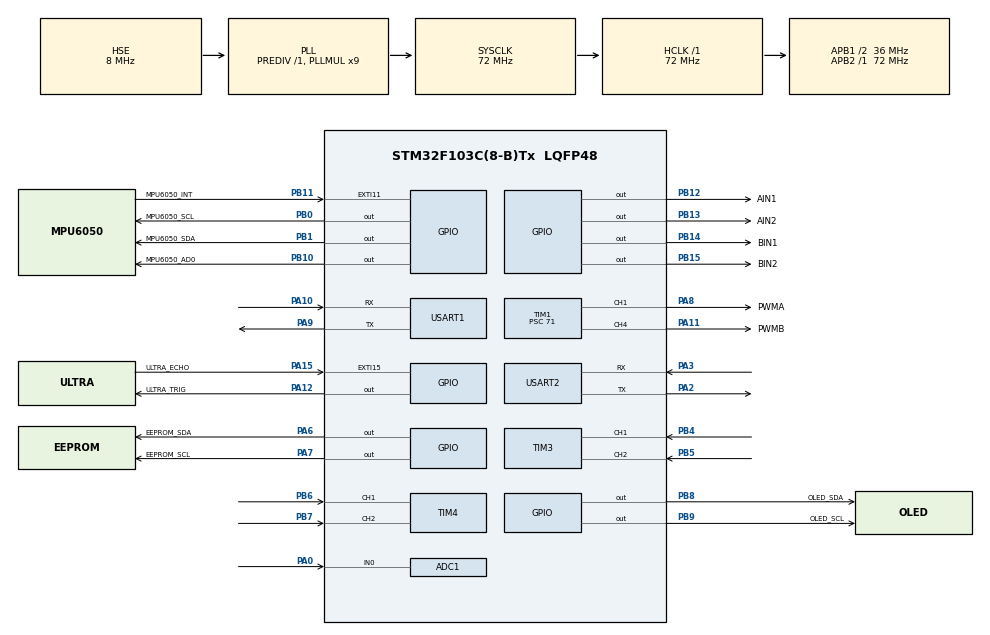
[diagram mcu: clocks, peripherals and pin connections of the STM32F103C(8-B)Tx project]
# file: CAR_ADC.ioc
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ADC1.Channel-0\#ChannelRegularConversion=ADC_CHANNEL_0
ADC1.ContinuousConvMode=ENABLE
ADC1.NbrOfConversionFlag=1
ADC1.Rank-0\#ChannelRegularConversion=1
ADC1.SamplingTime-0\#ChannelRegularConversion=ADC_SAMPLETIME_1CYCLE_5
ADC1.master=1
Dma.ADC1.4.Direction=DMA_PERIPH_TO_MEMORY
Dma.ADC1.4.Instance=DMA1_Channel1
Dma.ADC1.4.MemDataAlignment=DMA_MDATAALIGN_HALFWORD
Dma.ADC1.4.MemInc=DMA_MINC_ENABLE
Dma.ADC1.4.Mode=DMA_CIRCULAR
Dma.ADC1.4.PeriphDataAlignment=DMA_PDATAALIGN_HALFWORD
Dma.ADC1.4.PeriphInc=DMA_PINC_DISABLE
Dma.ADC1.4.Priority=DMA_PRIORITY_MEDIUM
Dma.Request0=USART1_RX
Dma.Request1=USART1_TX
Dma.Request2=USART2_TX
Dma.Request3=USART2_RX
Dma.Request4=ADC1
Dma.USART1_RX.0.Direction=DMA_PERIPH_TO_MEMORY
Dma.USART1_RX.0.Instance=DMA1_Channel5
Dma.USART1_RX.0.MemDataAlignment=DMA_MDATAALIGN_BYTE
Dma.USART1_RX.0.MemInc=DMA_MINC_ENABLE
Dma.USART1_RX.0.Mode=DMA_NORMAL
Dma.USART1_RX.0.PeriphDataAlignment=DMA_PDATAALIGN_BYTE
Dma.USART1_RX.0.PeriphInc=DMA_PINC_DISABLE
Dma.USART1_RX.0.Priority=DMA_PRIORITY_MEDIUM
Dma.USART1_TX.1.Direction=DMA_MEMORY_TO_PERIPH
Dma.USART1_TX.1.Instance=DMA1_Channel4
Dma.USART1_TX.1.MemDataAlignment=DMA_MDATAALIGN_BYTE
Dma.USART1_TX.1.MemInc=DMA_MINC_ENABLE
Dma.USART1_TX.1.Mode=DMA_NORMAL
Dma.USART1_TX.1.PeriphDataAlignment=DMA_PDATAALIGN_BYTE
Dma.USART1_TX.1.PeriphInc=DMA_PINC_DISABLE
Dma.USART1_TX.1.Priority=DMA_PRIORITY_MEDIUM
Dma.USART2_RX.3.Direction=DMA_PERIPH_TO_MEMORY
Dma.USART2_RX.3.Instance=DMA1_Channel6
Dma.USART2_RX.3.MemDataAlignment=DMA_MDATAALIGN_BYTE
Dma.USART2_RX.3.MemInc=DMA_MINC_ENABLE
Dma.USART2_RX.3.Mode=DMA_NORMAL
Dma.USART2_RX.3.PeriphDataAlignment=DMA_PDATAALIGN_BYTE
Dma.USART2_RX.3.PeriphInc=DMA_PINC_DISABLE
Dma.USART2_RX.3.Priority=DMA_PRIORITY_MEDIUM
Dma.USART2_TX.2.Direction=DMA_MEMORY_TO_PERIPH
Dma.USART2_TX.2.Instance=DMA1_Channel7
Dma.USART2_TX.2.MemDataAlignment=DMA_MDATAALIGN_BYTE
Dma.USART2_TX.2.MemInc=DMA_MINC_ENABLE
Dma.USART2_TX.2.Mode=DMA_NORMAL
Dma.USART2_TX.2.PeriphDataAlignment=DMA_PDATAALIGN_BYTE
Dma.USART2_TX.2.PeriphInc=DMA_PINC_DISABLE
Dma.USART2_TX.2.Priority=DMA_PRIORITY_MEDIUM
Mcu.Family=STM32F1
Mcu.Name=STM32F103C(8-B)Tx
Mcu.Package=LQFP48
NVIC.DMA1_Channel1_IRQn=true\:0\:0\:false\:false\:true\:false\:true
NVIC.DMA1_Channel4_IRQn=true\:0\:0\:false\:false\:true\:false\:true
NVIC.DMA1_Channel5_IRQn=true\:0\:0\:false\:false\:true\:false\:true
NVIC.DMA1_Channel6_IRQn=true\:0\:0\:true\:false\:true\:false\:true
NVIC.DMA1_Channel7_IRQn=true\:0\:0\:true\:false\:true\:false\:true
NVIC.EXTI15_10_IRQn=true\:0\:0\:true\:false\:true\:true\:true
NVIC.PriorityGroup=NVIC_PRIORITYGROUP_4
NVIC.USART1_IRQn=true\:2\:0\:true\:false\:true\:true\:true
NVIC.USART2_IRQn=true\:1\:0\:true\:false\:true\:true\:true
PA0-WKUP.Signal=ADCx_IN0
PA10.Mode=Asynchronous
PA10.Signal=USART1_RX
PA11.GPIO_Label=PWMB
PA11.GPIO_Speed=GPIO_SPEED_FREQ_HIGH
PA11.Signal=S_TIM1_CH4
PA12.GPIO_Label=ULTRA_TRIG
PA12.GPIO_Speed=GPIO_SPEED_FREQ_HIGH
PA12.Signal=GPIO_Output
PA13.Mode=Trace_Asynchronous_SW
PA13.Signal=SYS_JTMS-SWDIO
PA14.Mode=Trace_Asynchronous_SW
PA14.Signal=SYS_JTCK-SWCLK
PA15.GPIO_Label=ULTRA_ECHO
PA15.GPIO_PuPd=GPIO_PULLDOWN
PA15.Signal=GPXTI15
PA2.Mode=Asynchronous
PA2.Signal=USART2_TX
PA3.Mode=Asynchronous
PA3.Signal=USART2_RX
PA6.GPIO_Label=EEPROM_SDA
PA6.GPIO_ModeDefaultOutputPP=GPIO_MODE_OUTPUT_OD
PA6.GPIO_PuPd=GPIO_NOPULL
PA6.GPIO_Speed=GPIO_SPEED_FREQ_HIGH
PA6.Signal=GPIO_Output
PA7.GPIO_Label=EEPROM_SCL
PA7.GPIO_ModeDefaultOutputPP=GPIO_MODE_OUTPUT_OD
PA7.GPIO_PuPd=GPIO_NOPULL
PA7.GPIO_Speed=GPIO_SPEED_FREQ_HIGH
PA7.Signal=GPIO_Output
PA8.GPIO_Label=PWMA
PA8.GPIO_Speed=GPIO_SPEED_FREQ_HIGH
PA8.Signal=S_TIM1_CH1
PA9.Mode=Asynchronous
PA9.Signal=USART1_TX
PB0.GPIO_Label=MPU6050_SCL
PB0.GPIO_Speed=GPIO_SPEED_FREQ_HIGH
PB0.Signal=GPIO_Output
PB1.GPIO_Label=MPU6050_SDA
PB1.GPIO_Speed=GPIO_SPEED_FREQ_HIGH
PB1.Signal=GPIO_Output
PB10.GPIO_Label=MPU6050_AD0
PB10.GPIO_Speed=GPIO_SPEED_FREQ_HIGH
PB10.Signal=GPIO_Output
PB11.GPIO_Label=MPU6050_INT
PB11.GPIO_ModeDefaultEXTI=GPIO_MODE_IT_FALLING
PB11.GPIO_PuPd=GPIO_PULLUP
PB11.Signal=GPXTI11
PB12.GPIO_Label=AIN1
PB12.GPIO_Speed=GPIO_SPEED_FREQ_HIGH
PB12.Signal=GPIO_Output
PB13.GPIO_Label=AIN2
PB13.GPIO_Speed=GPIO_SPEED_FREQ_HIGH
PB13.Signal=GPIO_Output
PB14.GPIO_Label=BIN1
PB14.GPIO_Speed=GPIO_SPEED_FREQ_HIGH
PB14.Signal=GPIO_Output
PB15.GPIO_Label=BIN2
PB15.GPIO_Speed=GPIO_SPEED_FREQ_HIGH
PB15.Signal=GPIO_Output
PB3.Mode=Trace_Asynchronous_SW
PB3.Signal=SYS_JTDO-TRACESWO
PB4.Signal=S_TIM3_CH1
PB5.Signal=S_TIM3_CH2
PB6.Signal=S_TIM4_CH1
PB7.Signal=S_TIM4_CH2
PB8.GPIO_Label=OLED_SDA
PB8.GPIO_ModeDefaultOutputPP=GPIO_MODE_OUTPUT_OD
PB8.GPIO_PuPd=GPIO_NOPULL
PB8.GPIO_Speed=GPIO_SPEED_FREQ_HIGH
PB8.Signal=GPIO_Output
PB9.GPIO_Label=OLED_SCL
PB9.GPIO_ModeDefaultOutputPP=GPIO_MODE_OUTPUT_OD
PB9.GPIO_PuPd=GPIO_NOPULL
PB9.GPIO_Speed=GPIO_SPEED_FREQ_HIGH
PB9.Signal=GPIO_Output
PC14-OSC32_IN.Mode=LSE-External-Oscillator
PC14-OSC32_IN.Signal=RCC_OSC32_IN
PC15-OSC32_OUT.Mode=LSE-External-Oscillator
PC15-OSC32_OUT.Signal=RCC_OSC32_OUT
PD0-OSC_IN.Mode=HSE-External-Oscillator
PD0-OSC_IN.Signal=RCC_OSC_IN
PD1-OSC_OUT.Mode=HSE-External-Oscillator
PD1-OSC_OUT.Signal=RCC_OSC_OUT
ProjectManager.HeapSize=0x200
ProjectManager.StackSize=0x400
ProjectManager.TargetToolchain=MDK-ARM V5.32
RCC.ADCPresc=RCC_ADCPCLK2_DIV6
RCC.AHBFreq_Value=72000000
RCC.APB1CLKDivider=RCC_HCLK_DIV2
RCC.APB1Freq_Value=36000000
RCC.APB1TimFreq_Value=72000000
RCC.APB2Freq_Value=72000000
RCC.APB2TimFreq_Value=72000000
RCC.HCLKFreq_Value=72000000
RCC.PLLMUL=RCC_PLL_MUL9
RCC.PLLSourceVirtual=RCC_PLLSOURCE_HSE
RCC.SYSCLKFreq_VALUE=72000000
RCC.SYSCLKSource=RCC_SYSCLKSOURCE_PLLCLK
RCC.USBFreq_Value=72000000
SH.ADCx_IN0.0=ADC1_IN0,IN0
SH.S_TIM1_CH1.0=TIM1_CH1,PWM Generation1 CH1
SH.S_TIM1_CH4.0=TIM1_CH4,PWM Generation4 CH4
SH.S_TIM3_CH1.0=TIM3_CH1,Encoder_Interface
SH.S_TIM3_CH2.0=TIM3_CH2,Encoder_Interface
SH.S_TIM4_CH1.0=TIM4_CH1,Encoder_Interface
SH.S_TIM4_CH2.0=TIM4_CH2,Encoder_Interface
TIM1.AutoReloadPreload=TIM_AUTORELOAD_PRELOAD_ENABLE
TIM1.Channel-PWM\ Generation1\ CH1=TIM_CHANNEL_1
TIM1.Channel-PWM\ Generation4\ CH4=TIM_CHANNEL_4
TIM1.Period=9999
TIM1.Prescaler=71
TIM2.Prescaler=71
TIM3.CounterMode=TIM_COUNTERMODE_UP
TIM3.EncoderMode=TIM_ENCODERMODE_TI12
TIM4.EncoderMode=TIM_ENCODERMODE_TI12
USART1.VirtualMode=VM_ASYNC
USART2.VirtualMode=VM_ASYNC
VP_TIM1_VS_ClockSourceINT.Mode=Internal
VP_TIM2_VS_ClockSourceINT.Mode=Internal
board=custom

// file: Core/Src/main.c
/* USER CODE BEGIN Header */
/**
  ******************************************************************************
  * @file           : main.c
  * @brief          : Main program body
  ******************************************************************************
  * @attention
  *
  * Copyright (c) 2022 STMicroelectronics.
  * All rights reserved.
  *
  * This software is licensed under terms that can be found in the LICENSE file
  * in the root directory of this software component.
  * If no LICENSE file comes with this software, it is provided AS-IS.
  *
  ******************************************************************************
  */
#include "oled.h"
#include "mpu6050.h"
#include "inv_mpu.h"
#include "delay.h"
#include "encoder.h"
#include "pwm.h"
#include "eeprom.h"
#include "ultra.h"
#include "blue_teeth.h"
/* USER CODE END Header */
#include "main.h"
#include "adc.h"
#include "dma.h"
#include "tim.h"
#include "usart.h"
#include "gpio.h"

void SystemClock_Config(void);

int main(void)
{

  /* MCU Configuration--------------------------------------------------------*/

  /* Reset of all peripherals, Initializes the Flash interface and the Systick. */
  HAL_Init();

  /* Configure the system clock */
  SystemClock_Config();

  /* Initialize all configured peripherals */
  MX_GPIO_Init();
  MX_DMA_Init();
  MX_USART1_UART_Init();
  MX_USART2_UART_Init();
  MX_TIM4_Init();
  MX_TIM3_Init();
  MX_TIM2_Init();
  MX_TIM1_Init();
  MX_ADC1_Init();
  /* USER CODE BEGIN 2 */
	//HAL_UART_Receive_IT(&huart1, (uint8_t *)&aRxBuffer1, 1);
	HAL_TIM_Encoder_Start(&htim3,TIM_CHANNEL_ALL);
	HAL_TIM_Encoder_Start(&htim4,TIM_CHANNEL_ALL);
	HAL_TIM_PWM_Start(&htim1, TIM_CHANNEL_1);
	HAL_TIM_PWM_Start(&htim1, TIM_CHANNEL_4);
	//HAL_ADC_Start(&hadc1);
  /* USER CODE END 2 */

  /* Infinite loop */
  /* USER CODE BEGIN WHILE */
	Printf(USART2,"%d",MPU_Init());
	Printf(USART2,"%d",mpu_dmp_init());

	Motor_Init();
	//OLED_Config();
	EEPROM_Config();
	//BULECarInitDisplay();

	//ULTRA_FLAG = 1;//�����������ж�
	//EEPROMOutload();
	EEPROMReload();
	//BLUE_Config();
	DMA_Printf(USART1,"��Balance_Car��Welcome!");
	//INT_FLAG=1;//����mpu6050�ж�
	//Set_Pwm(230,230);
  while (1)
  {
    /* USER CODE END WHILE */

    /* USER CODE BEGIN 3 */
		float battery_valtage;
		battery_valtage = get_Battery_Voltage();
		Printf(USART2,"%.2f",battery_valtage);
		delay_ms(500);
		//USART1_REC_Handler();
		//USART2_REC_Handler();
  }
  /* USER CODE END 3 */
}

void SystemClock_Config(void)
{
  RCC_OscInitTypeDef RCC_OscInitStruct = {0};
  RCC_ClkInitTypeDef RCC_ClkInitStruct = {0};
  RCC_PeriphCLKInitTypeDef PeriphClkInit = {0};

  /** Initializes the RCC Oscillators according to the specified parameters
  * in the RCC_OscInitTypeDef structure.
  */
  RCC_OscInitStruct.OscillatorType = RCC_OSCILLATORTYPE_HSE;
  RCC_OscInitStruct.HSEState = RCC_HSE_ON;
  RCC_OscInitStruct.HSEPredivValue = RCC_HSE_PREDIV_DIV1;
  RCC_OscInitStruct.HSIState = RCC_HSI_ON;
  RCC_OscInitStruct.PLL.PLLState = RCC_PLL_ON;
  RCC_OscInitStruct.PLL.PLLSource = RCC_PLLSOURCE_HSE;
  RCC_OscInitStruct.PLL.PLLMUL = RCC_PLL_MUL9;
  if (HAL_RCC_OscConfig(&RCC_OscInitStruct) != HAL_OK)
  {
    Error_Handler();
  }
  /** Initializes the CPU, AHB and APB buses clocks
  */
  RCC_ClkInitStruct.ClockType = RCC_CLOCKTYPE_HCLK|RCC_CLOCKTYPE_SYSCLK
                              |RCC_CLOCKTYPE_PCLK1|RCC_CLOCKTYPE_PCLK2;
  RCC_ClkInitStruct.SYSCLKSource = RCC_SYSCLKSOURCE_PLLCLK;
  RCC_ClkInitStruct.AHBCLKDivider = RCC_SYSCLK_DIV1;
  RCC_ClkInitStruct.APB1CLKDivider = RCC_HCLK_DIV2;
  RCC_ClkInitStruct.APB2CLKDivider = RCC_HCLK_DIV1;

  if (HAL_RCC_ClockConfig(&RCC_ClkInitStruct, FLASH_LATENCY_2) != HAL_OK)
  {
    Error_Handler();
  }
  PeriphClkInit.PeriphClockSelection = RCC_PERIPHCLK_ADC;
  PeriphClkInit.AdcClockSelection = RCC_ADCPCLK2_DIV6;
  if (HAL_RCCEx_PeriphCLKConfig(&PeriphClkInit) != HAL_OK)
  {
    Error_Handler();
  }
}

void Error_Handler(void)
{
  /* USER CODE BEGIN Error_Handler_Debug */
  /* User can add his own implementation to report the HAL error return state */
  __disable_irq();
		while(1);

  /* USER CODE END Error_Handler_Debug */
}
